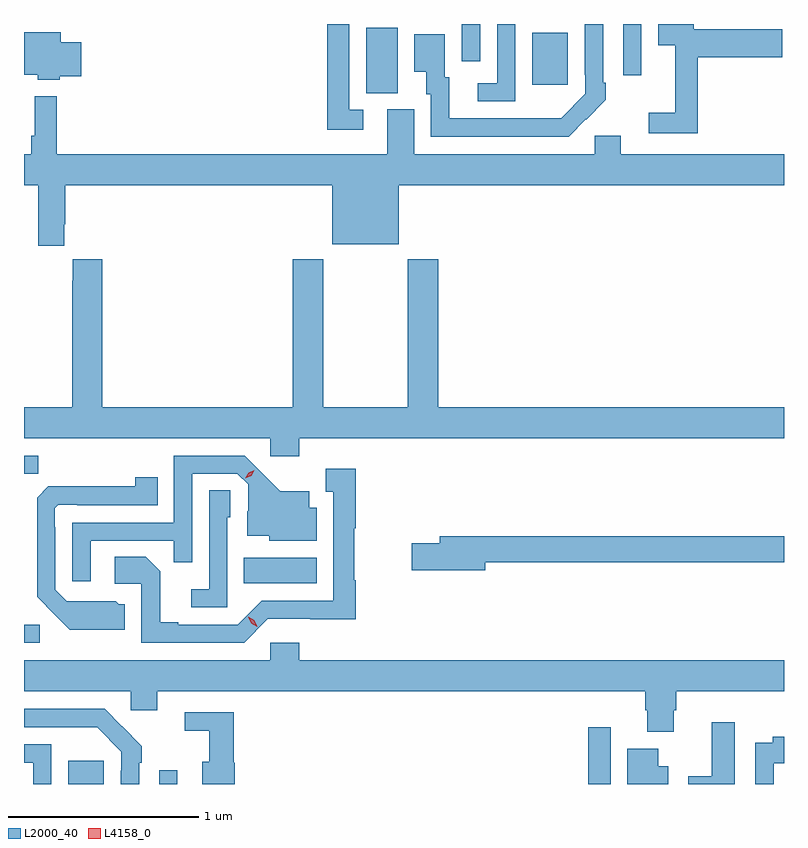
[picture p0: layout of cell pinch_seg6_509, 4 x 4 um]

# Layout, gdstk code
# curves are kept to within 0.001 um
import gdstk
lib = gdstk.Library(unit=1e-6, precision=1e-09)
def R(c, l, rs):  # rectangles x0, y0, x1, y1
    for r in rs: c.add(gdstk.rectangle(r[:2], r[2:], *l))
def P(c, l, *ps):  # polygons
    for p in ps: c.add(gdstk.Polygon(p, *l))
L2000_40 = (2000, 40)
L4158_0 = (4158, 0)

pinch_seg6_509 = lib.new_cell('pinch_seg6_509')
R(pinch_seg6_509, L2000_40, [(770.477,933.529,770.665,933.652), (770.955,933.529,771.051,933.601), (773.215,933.529,773.331,933.829), (770.244,934.272,770.326,934.368), (771.4,934.586,771.784,934.72), (770.244,935.161,770.319,935.256), (772.046,937.165,772.21,937.508), (772.919,937.209,773.107,937.483), (773.397,937.26,773.493,937.529), (772.548,937.332,772.644,937.529)])
P(pinch_seg6_509, L2000_40, [(773.789,937.355),(774.235,937.355),(774.235,937.502),(773.77,937.502),(773.77,937.529),(773.582,937.529),(773.582,937.418),(773.672,937.418),(773.672,937.063),(773.532,937.063),(773.532,936.954),(773.789,936.954)],
  [(773.201,937.027),(773.202,937.026),(773.307,937.131),(773.307,937.219),(773.292,937.219),(773.292,937.529),(773.196,937.529),(773.196,937.261),(773.199,937.261),(773.199,937.161),(773.071,937.033),(772.483,937.032),(772.483,937.248),(772.459,937.248),(772.459,937.474),(772.298,937.474),(772.298,937.277),(772.361,937.277),(772.361,937.158),(772.386,937.158),(772.386,936.936),(773.11,936.936)],
  [(772.83,937.529),(772.734,937.529),(772.734,937.218),(772.632,937.218),(772.632,937.122),(772.83,937.122)],
  [(772.03,937.077),(771.957,937.077),(771.957,937.529),(771.841,937.529),(771.841,936.972),(772.03,936.972)],
  [(770.433,937.255),(770.545,937.255),(770.545,937.433),(770.437,937.433),(770.437,937.486),(770.244,937.486),(770.244,937.262),(770.316,937.262),(770.316,937.235),(770.433,937.235)],
  [(770.455,936.475),(770.462,936.475),(770.462,936.68),(771.866,936.68),(771.866,936.371),(772.216,936.371),(772.216,936.68),(774.244,936.68),(774.244,936.844),(773.386,936.844),(773.386,936.942),(773.247,936.942),(773.247,936.844),(772.297,936.844),(772.297,937.08),(772.157,937.08),(772.157,936.844),(770.417,936.844),(770.417,937.15),(770.301,937.15),(770.301,936.94),(770.281,936.94),(770.281,936.844),(770.244,936.844),(770.244,936.68),(770.318,936.68),(770.318,936.363),(770.455,936.363)],
  [(771.692,935.348),(774.244,935.348),(774.244,935.512),(772.424,935.512),(772.424,936.292),(772.264,936.292),(772.264,935.512),(771.819,935.512),(771.819,936.292),(771.659,936.292),(771.659,935.512),(770.657,935.512),(770.657,936.292),(770.501,936.292),(770.501,936.179),(770.497,936.179),(770.497,935.512),(770.244,935.512),(770.244,935.348),(771.54,935.348),(771.54,935.253),(771.692,935.253)],
  [(770.595,934.809),(771.031,934.809),(771.031,934.696),(771.129,934.696),(771.129,935.163),(771.366,935.163),(771.423,935.106),(771.423,934.964),(771.419,934.964),(771.419,934.835),(771.534,934.835),(771.534,934.808),(771.784,934.808),(771.784,934.984),(771.745,934.984),(771.745,935.071),(771.593,935.071),(771.406,935.256),(771.033,935.256),(771.033,934.905),(770.499,934.905),(770.499,934.596),(770.595,934.596)],
  [(771.528,934.398),(771.991,934.397),(771.991,934.601),(771.983,934.601),(771.983,934.875),(771.991,934.875),(771.991,935.188),(771.833,935.188),(771.833,935.067),(771.872,935.067),(771.872,934.494),(771.495,934.494),(771.369,934.368),(771.055,934.368),(771.055,934.381),(770.961,934.381),(770.961,934.648),(770.885,934.724),(770.721,934.724),(770.721,934.584),(770.862,934.584),(770.862,934.272),(771.402,934.272)],
  [(770.773,934.476),(770.742,934.476),(770.726,934.492),(770.469,934.491),(770.409,934.551),(770.409,934.88),(770.406,934.88),(770.406,934.98),(770.424,934.998),(770.524,934.998),(770.524,934.995),(770.948,934.995),(770.948,935.143),(770.83,935.143),(770.83,935.096),(770.372,935.095),(770.313,935.036),(770.313,934.514),(770.485,934.34),(770.773,934.34)],
  [(771.315,934.932),(771.33,934.932),(771.33,935.075),(771.219,935.075),(771.219,934.555),(771.123,934.555),(771.123,934.458),(771.315,934.458)],
  [(772.672,934.696),(774.244,934.696),(774.244,934.832),(772.433,934.832),(772.433,934.796),(772.284,934.796),(772.284,934.654),(772.672,934.654)],
  [(773.665,933.918),(773.678,933.918),(773.678,934.016),(774.244,934.016),(774.244,934.18),(771.692,934.18),(771.692,934.273),(771.54,934.273),(771.54,934.18),(770.244,934.18),(770.244,934.016),(770.805,934.016),(770.805,933.918),(770.944,933.918),(770.944,934.016),(773.513,934.016),(773.513,933.918),(773.525,933.918),(773.525,933.804),(773.665,933.804)],
  [(770.85,933.641),(770.865,933.641),(770.865,933.729),(770.668,933.924),(770.244,933.924),(770.244,933.828),(770.629,933.828),(770.757,933.699),(770.757,933.599),(770.754,933.599),(770.754,933.529),(770.85,933.529)],
  [(771.353,933.642),(771.347,933.642),(771.347,933.906),(771.09,933.906),(771.09,933.809),(771.219,933.809),(771.219,933.646),(771.182,933.646),(771.182,933.529),(771.353,933.529)],
  [(773.986,933.853),(773.864,933.853),(773.864,933.57),(773.739,933.57),(773.739,933.529),(773.986,933.529)],
  [(774.189,933.638),(774.244,933.638),(774.244,933.778),(774.185,933.778),(774.185,933.745),(774.093,933.745),(774.093,933.529),(774.189,933.529)],
  [(770.388,933.738),(770.244,933.738),(770.244,933.642),(770.292,933.642),(770.292,933.529),(770.388,933.529)],
  [(773.635,933.622),(773.581,933.622),(773.581,933.715),(773.42,933.715),(773.42,933.529),(773.635,933.529)])
P(pinch_seg6_509, L4158_0, [(771.471,934.356),(771.44,934.376),(771.424,934.409),(771.424,934.41),(771.424,934.41),(771.455,934.39),(771.472,934.356),(771.472,934.356)],
  [(771.408,935.137),(771.408,935.138),(771.426,935.167),(771.457,935.181),(771.457,935.181),(771.457,935.181),(771.439,935.152),(771.409,935.137)])

lib.write_gds('pinch_seg6_509.gds')
